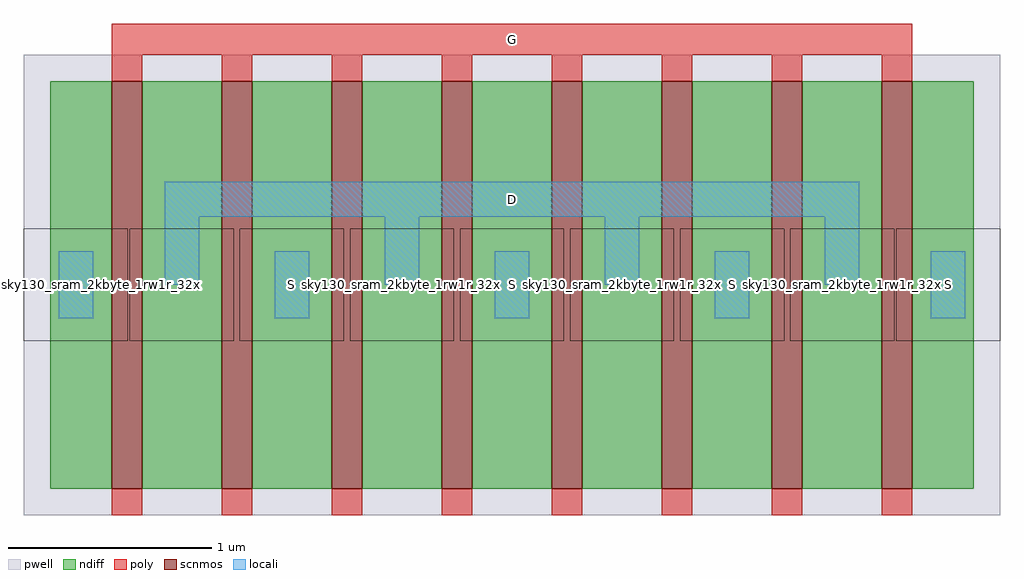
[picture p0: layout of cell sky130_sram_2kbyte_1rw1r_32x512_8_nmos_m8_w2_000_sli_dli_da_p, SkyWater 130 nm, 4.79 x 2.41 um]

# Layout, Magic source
magic
tech sky130A
magscale 1 2
<< pwell >>
rect -26 -26 932 426
<< scnmos >>
rect 60 0 90 400
rect 168 0 198 400
rect 276 0 306 400
rect 384 0 414 400
rect 492 0 522 400
rect 600 0 630 400
rect 708 0 738 400
rect 816 0 846 400
<< ndiff >>
rect 0 0 60 400
rect 90 0 168 400
rect 198 0 276 400
rect 306 0 384 400
rect 414 0 492 400
rect 522 0 600 400
rect 630 0 708 400
rect 738 0 816 400
rect 846 0 906 400
<< poly >>
rect 60 426 846 456
rect 60 400 90 426
rect 168 400 198 426
rect 276 400 306 426
rect 384 400 414 426
rect 492 400 522 426
rect 600 400 630 426
rect 708 400 738 426
rect 816 400 846 426
rect 60 -26 90 0
rect 168 -26 198 0
rect 276 -26 306 0
rect 384 -26 414 0
rect 492 -26 522 0
rect 600 -26 630 0
rect 708 -26 738 0
rect 816 -26 846 0
<< locali >>
rect 112 267 794 301
rect 8 167 42 233
rect 112 200 146 267
rect 220 167 254 233
rect 328 200 362 267
rect 436 167 470 233
rect 544 200 578 267
rect 652 167 686 233
rect 760 200 794 267
rect 864 167 898 233
use sky130_sram_2kbyte_1rw1r_32x512_8_contact_11  sky130_sram_2kbyte_1rw1r_32x512_8_contact_11_8
transform 1 0 0 0 1 167
box -26 -22 76 88
use sky130_sram_2kbyte_1rw1r_32x512_8_contact_11  sky130_sram_2kbyte_1rw1r_32x512_8_contact_11_7
transform 1 0 104 0 1 167
box -26 -22 76 88
use sky130_sram_2kbyte_1rw1r_32x512_8_contact_11  sky130_sram_2kbyte_1rw1r_32x512_8_contact_11_6
transform 1 0 212 0 1 167
box -26 -22 76 88
use sky130_sram_2kbyte_1rw1r_32x512_8_contact_11  sky130_sram_2kbyte_1rw1r_32x512_8_contact_11_5
transform 1 0 320 0 1 167
box -26 -22 76 88
use sky130_sram_2kbyte_1rw1r_32x512_8_contact_11  sky130_sram_2kbyte_1rw1r_32x512_8_contact_11_4
transform 1 0 428 0 1 167
box -26 -22 76 88
use sky130_sram_2kbyte_1rw1r_32x512_8_contact_11  sky130_sram_2kbyte_1rw1r_32x512_8_contact_11_3
transform 1 0 536 0 1 167
box -26 -22 76 88
use sky130_sram_2kbyte_1rw1r_32x512_8_contact_11  sky130_sram_2kbyte_1rw1r_32x512_8_contact_11_2
transform 1 0 644 0 1 167
box -26 -22 76 88
use sky130_sram_2kbyte_1rw1r_32x512_8_contact_11  sky130_sram_2kbyte_1rw1r_32x512_8_contact_11_1
transform 1 0 752 0 1 167
box -26 -22 76 88
use sky130_sram_2kbyte_1rw1r_32x512_8_contact_11  sky130_sram_2kbyte_1rw1r_32x512_8_contact_11_0
transform 1 0 856 0 1 167
box -26 -22 76 88
<< labels >>
rlabel locali s 453 200 453 200 4 S
rlabel locali s 25 200 25 200 4 S
rlabel locali s 881 200 881 200 4 S
rlabel locali s 237 200 237 200 4 S
rlabel locali s 669 200 669 200 4 S
rlabel locali s 453 284 453 284 4 D
rlabel poly s 453 441 453 441 4 G
<< properties >>
string FIXED_BBOX -25 -26 931 456
<< end >>
